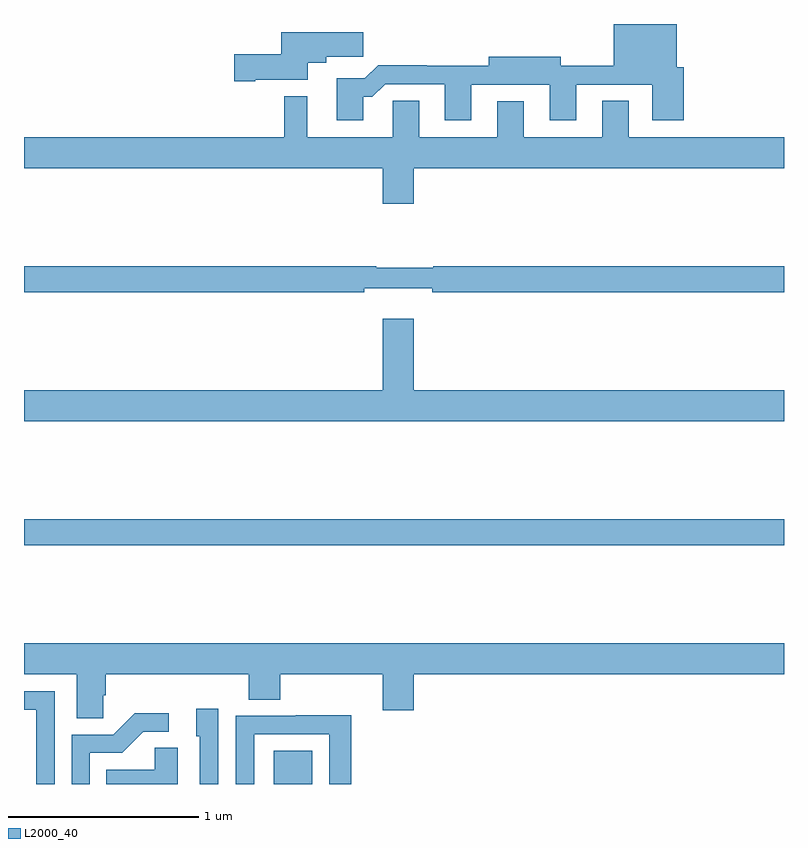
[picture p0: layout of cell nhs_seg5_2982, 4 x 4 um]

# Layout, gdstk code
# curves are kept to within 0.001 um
import gdstk
lib = gdstk.Library(unit=1e-6, precision=1e-09)
def R(c, l, rs):  # rectangles x0, y0, x1, y1
    for r in rs: c.add(gdstk.rectangle(r[:2], r[2:], *l))
def P(c, l, *ps):  # polygons
    for p in ps: c.add(gdstk.Polygon(p, *l))
L2000_40 = (2000, 40)

nhs_seg5_2982 = lib.new_cell('nhs_seg5_2982')
R(nhs_seg5_2982, L2000_40, [(284.315,906.799,284.518,906.973), (283,908.056,287,908.192)])
P(nhs_seg5_2982, L2000_40, [(284.785,910.415),(284.834,910.415),(284.901,910.482),(285.215,910.482),(285.215,910.293),(285.355,910.293),(285.355,910.479),(285.767,910.478),(285.767,910.293),(285.907,910.293),(285.907,910.479),(286.307,910.479),(286.307,910.293),(286.472,910.293),(286.472,910.572),(286.435,910.572),(286.435,910.799),(286.103,910.799),(286.103,910.58),(285.826,910.58),(285.826,910.627),(285.446,910.627),(285.446,910.58),(285.119,910.58),(285.119,910.583),(284.864,910.583),(284.794,910.513),(284.645,910.513),(284.645,910.293),(284.785,910.293)],
  [(284.218,910.505),(284.494,910.505),(284.494,910.595),(284.59,910.595),(284.59,910.627),(284.785,910.627),(284.785,910.756),(284.354,910.756),(284.354,910.64),(284.106,910.64),(284.106,910.498),(284.218,910.498)],
  [(285.052,910.04),(287,910.04),(287,910.204),(286.183,910.204),(286.183,910.394),(286.043,910.394),(286.043,910.204),(285.631,910.204),(285.631,910.393),(285.491,910.393),(285.491,910.204),(285.079,910.204),(285.079,910.394),(284.94,910.394),(284.94,910.204),(284.491,910.204),(284.491,910.42),(284.37,910.42),(284.37,910.204),(283,910.204),(283,910.04),(284.888,910.04),(284.888,909.852),(285.052,909.852)],
  [(284.792,909.407),(285.148,909.407),(285.148,909.388),(287,909.388),(287,909.524),(285.155,909.524),(285.155,909.517),(284.855,909.517),(284.855,909.524),(283,909.524),(283,909.388),(284.792,909.388)],
  [(287,908.872),(285.052,908.872),(285.052,909.247),(284.888,909.247),(284.888,908.872),(283,908.872),(283,908.708),(287,908.708)],
  [(283.416,907.267),(283.43,907.267),(283.43,907.376),(284.183,907.376),(284.183,907.243),(284.348,907.243),(284.348,907.376),(284.888,907.376),(284.888,907.188),(285.052,907.188),(285.052,907.376),(287,907.376),(287,907.54),(283,907.54),(283,907.376),(283.277,907.376),(283.277,907.144),(283.416,907.144)],
  [(283.161,907.287),(283,907.287),(283,907.191),(283.065,907.191),(283.065,906.799),(283.161,906.799)],
  [(284.022,907.195),(283.907,907.195),(283.907,907.05),(283.926,907.05),(283.926,906.799),(284.022,906.799)],
  [(283.347,906.963),(283.516,906.963),(283.627,907.074),(283.762,907.074),(283.762,907.172),(283.583,907.172),(283.47,907.059),(283.251,907.059),(283.251,906.799),(283.347,906.799)],
  [(284.211,907.062),(284.607,907.062),(284.607,906.799),(284.723,906.799),(284.723,907.16),(284.431,907.16),(284.431,907.158),(284.115,907.158),(284.115,906.799),(284.211,906.799)],
  [(283.81,906.989),(283.689,906.989),(283.689,906.874),(283.432,906.874),(283.432,906.799),(283.81,906.799)])

lib.write_gds('nhs_seg5_2982.gds')
